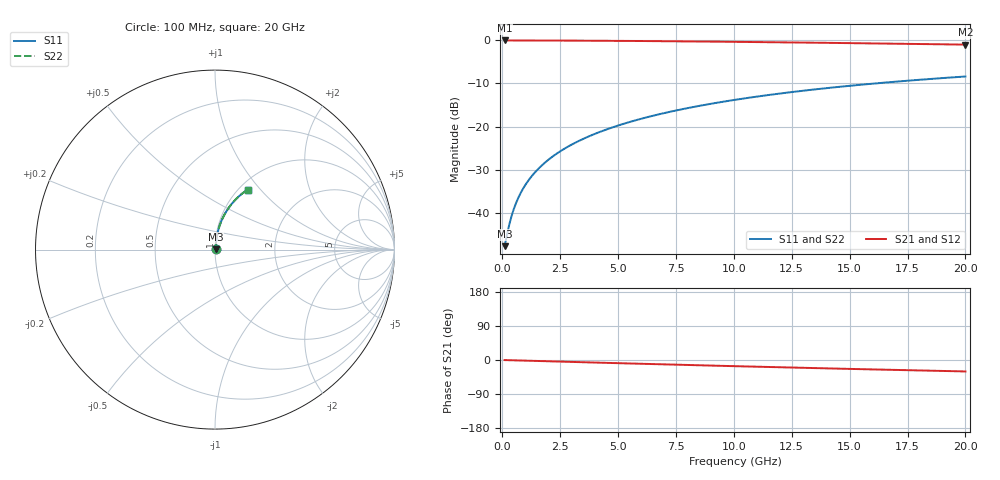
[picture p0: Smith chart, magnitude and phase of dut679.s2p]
! Touchstone file exported from HFSS 2024.1.0
!  File:  C:/UserFiles/LocalFiles/RDL_TSV_Batchsim/temp_RDL_bottom_679_1779786496.aedt
!  Generated:  05:10:58 PM May 26, 2026
!  Design:  RDL_bottom
!  Project:  temp_RDL_bottom_679_1779786496
!  Setup:  Setup1
!  Solution:  Sweep
! Variables:
!  dtsv = 10.80580581um
!  hbump = 3um
!  htsv = 57.65um
!  ldown = 347.76um
!  lrdl = 100um
!  p = 40
!  p1 = 48.77um
!  rhole = 1um
!  t = 450um
!  tdown = 3.27um
!  trdl = 3.915915916um
!  wdown = 10.97um
!  wrdl = 20um
# GHz S MA R 50.000000
! Terminal data exported
! Port[1] = RDL1_T1
! Port[2] = RDL1_T2
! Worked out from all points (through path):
!   200 points, 100 MHz to 20 GHz, reference 50 ohm
!   highest |S21| = -0.03 dB at 100 MHz (marker M1); lowest = -1.0 dB at 20 GHz (marker M2)
!   group delay of S21, straight-line fit = 4.2 ps
!   lowest |S11| = -47.7 dB at 100 MHz (marker M3), VSWR 1.01, Z = 50.4 + j0.214 ohm
!   |S11| at or under -10 dB: start of sweep to 16.07 GHz
!   |S22| runs from -47.7 to -8.4 dB; largest |S21 - S12| = 3.7e-15
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0.1  0.004129 31.0  0.9965 -0.2  0.9965 -0.2  0.004129 31.0
! Gamma 0 0 0 0
! Port Impedance 50 0 50 0
0.3  0.007321 60.1  0.9964 -0.5  0.9964 -0.5  0.007321 60.1
0.4  0.009224 66.1  0.9963 -0.7  0.9963 -0.7  0.009224 66.1
0.5  0.01118 70.0  0.9962 -0.9  0.9962 -0.9  0.01118 70.0
0.6  0.01317 72.7  0.9961 -1.0  0.9961 -1.0  0.01317 72.7
0.8  0.01718 76.1  0.9959 -1.4  0.9959 -1.4  0.01718 76.1
1.1  0.02324 78.8  0.9956 -1.9  0.9956 -1.9  0.02324 78.8
1.3  0.0273 79.9  0.9953 -2.2  0.9953 -2.2  0.0273 79.9
1.5  0.03137 80.7  0.9951 -2.6  0.9951 -2.6  0.03137 80.7
1.8  0.03748 81.5  0.9946 -3.1  0.9946 -3.1  0.03748 81.5
2.1  0.04362 81.9  0.9941 -3.6  0.9941 -3.6  0.04362 81.9
2.7  0.0559 82.2  0.9929 -4.6  0.9929 -4.6  0.0559 82.2
3.5  0.07231 82.0  0.9908 -5.9  0.9908 -5.9  0.07231 82.0
4.2  0.08668 81.6  0.9886 -7.1  0.9886 -7.1  0.08668 81.6
5  0.1031 80.9  0.9858 -8.4  0.9858 -8.4  0.1031 80.9
5.9  0.1215 79.9  0.9821 -9.8  0.9821 -9.8  0.1215 79.9
6.8  0.1398 78.9  0.9781 -11.3  0.9781 -11.3  0.1398 78.9
8.3  0.17 77.0  0.9705 -13.6  0.9705 -13.6  0.17 77.0
10.1  0.2056 74.6  0.9603 -16.4  0.9603 -16.4  0.2056 74.6
13.4  0.2684 70.1  0.9394 -21.2  0.9394 -21.2  0.2684 70.1
16.7  0.3271 65.7  0.9163 -25.8  0.9163 -25.8  0.3271 65.7
20  0.381 61.4  0.8918 -30.2  0.8918 -30.2  0.3811 61.4
